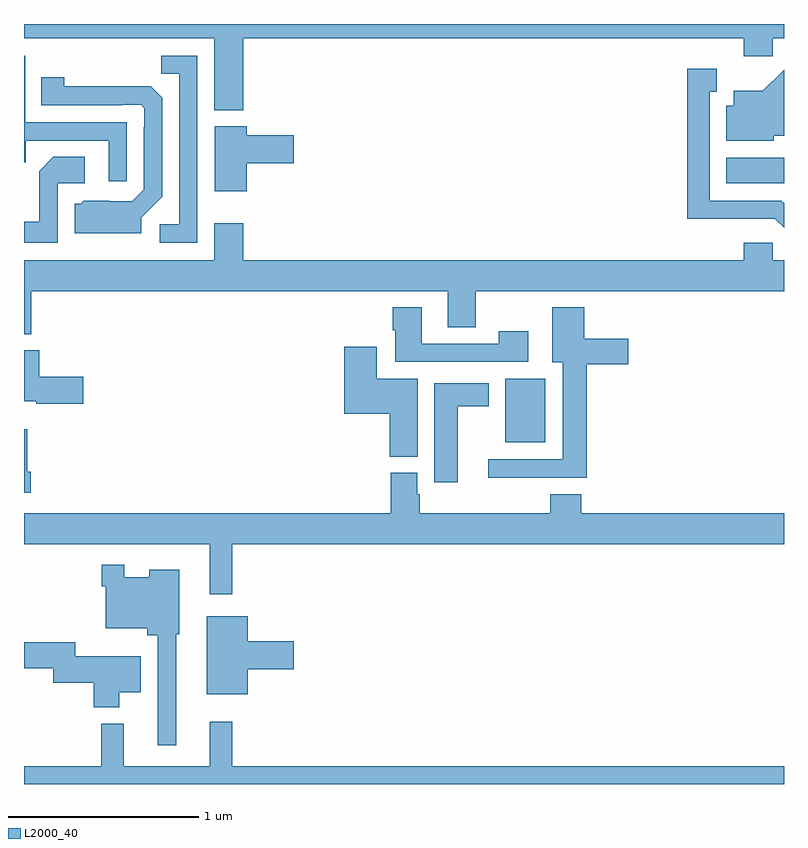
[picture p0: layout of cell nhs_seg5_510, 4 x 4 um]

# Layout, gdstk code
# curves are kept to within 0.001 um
import gdstk
lib = gdstk.Library(unit=1e-6, precision=1e-09)
def R(c, l, rs):  # rectangles x0, y0, x1, y1
    for r in rs: c.add(gdstk.rectangle(r[:2], r[2:], *l))
def P(c, l, *ps):  # polygons
    for p in ps: c.add(gdstk.Polygon(p, *l))
L2000_40 = (2000, 40)

nhs_seg5_510 = lib.new_cell('nhs_seg5_510')
R(nhs_seg5_510, L2000_40, [(145.532,890.597,145.744,890.932), (146.696,891.962,147,892.096)])
P(nhs_seg5_510, L2000_40, [(144.155,892.724),(146.789,892.724),(146.789,892.629),(146.94,892.629),(146.94,892.724),(147,892.724),(147,892.799),(143,892.799),(143,892.724),(144.002,892.724),(144.002,892.346),(144.155,892.346)],
  [(143.913,892.632),(143.722,892.632),(143.722,892.537),(143.817,892.537),(143.817,891.744),(143.715,891.744),(143.715,891.648),(143.913,891.648)],
  [(143.541,892.281),(143.007,892.281),(143.007,892.632),(143,892.632),(143,892.072),(143.009,892.072),(143.009,892.185),(143.445,892.185),(143.445,891.972),(143.541,891.972)],
  [(147,891.855),(146.985,891.87),(146.608,891.87),(146.608,892.443),(146.647,892.443),(146.647,892.564),(146.49,892.564),(146.49,891.773),(146.73,891.773),(146.73,891.774),(146.952,891.774),(147,891.726)],
  [(146.946,892.211),(147,892.211),(147,892.559),(146.99,892.549),(146.887,892.447),(146.735,892.447),(146.735,892.369),(146.696,892.369),(146.696,892.184),(146.946,892.184)],
  [(143.617,891.78),(143.727,891.89),(143.727,892.412),(143.668,892.471),(143.211,892.472),(143.211,892.519),(143.092,892.519),(143.092,892.371),(143.516,892.371),(143.516,892.374),(143.616,892.374),(143.634,892.356),(143.634,892.256),(143.631,892.256),(143.631,891.927),(143.571,891.867),(143.314,891.868),(143.298,891.852),(143.267,891.852),(143.267,891.698),(143.617,891.698)],
  [(144.172,892.067),(144.421,892.067),(144.421,892.214),(144.172,892.214),(144.172,892.261),(144.005,892.261),(144.005,891.918),(144.172,891.918)],
  [(143.178,891.96),(143.32,891.96),(143.32,892.1),(143.155,892.1),(143.079,892.024),(143.079,891.757),(143,891.757),(143,891.648),(143.178,891.648)],
  [(144.155,891.751),(144.002,891.751),(144.002,891.556),(143,891.556),(143,891.167),(143.039,891.167),(143.039,891.392),(145.229,891.392),(145.229,891.202),(145.377,891.202),(145.377,891.392),(147,891.392),(147,891.556),(146.94,891.556),(146.94,891.649),(146.789,891.649),(146.789,891.556),(144.155,891.556)],
  [(145.654,891.181),(145.498,891.181),(145.498,891.117),(145.093,891.117),(145.093,891.307),(144.941,891.307),(144.941,891.187),(144.953,891.187),(144.953,891.021),(145.654,891.021)],
  [(145.961,891.008),(146.179,891.008),(146.179,891.142),(145.948,891.142),(145.948,891.307),(145.781,891.307),(145.781,891.02),(145.835,891.02),(145.835,890.508),(145.443,890.508),(145.443,890.411),(145.961,890.411)],
  [(145.072,890.932),(144.856,890.932),(144.856,891.1),(144.686,891.1),(144.686,890.747),(144.926,890.747),(144.926,890.521),(145.072,890.521)],
  [(143.311,890.943),(143.081,890.943),(143.081,891.082),(143,891.082),(143,890.813),(143.064,890.813),(143.064,890.801),(143.311,890.801)],
  [(145.282,890.786),(145.447,890.786),(145.447,890.908),(145.16,890.908),(145.16,890.388),(145.282,890.388)],
  [(143.036,890.443),(143.016,890.443),(143.016,890.665),(143,890.665),(143,890.331),(143.036,890.331)],
  [(144.095,890.06),(147,890.06),(147,890.224),(145.934,890.224),(145.934,890.323),(145.769,890.323),(145.769,890.224),(145.082,890.224),(145.082,890.325),(145.069,890.325),(145.069,890.436),(144.929,890.436),(144.929,890.224),(143,890.224),(143,890.06),(143.978,890.06),(143.978,889.797),(144.095,889.797)],
  [(143.8,889.587),(143.818,889.587),(143.818,889.927),(143.66,889.927),(143.66,889.888),(143.527,889.888),(143.527,889.954),(143.41,889.954),(143.41,889.841),(143.43,889.841),(143.43,889.619),(143.648,889.619),(143.648,889.583),(143.703,889.583),(143.703,889.002),(143.8,889.002)],
  [(144.178,889.403),(144.421,889.403),(144.421,889.55),(144.178,889.55),(144.178,889.681),(143.963,889.681),(143.963,889.271),(144.178,889.271)],
  [(143.5,889.283),(143.614,889.283),(143.614,889.471),(143.271,889.471),(143.271,889.544),(143,889.544),(143,889.408),(143.155,889.408),(143.155,889.332),(143.366,889.332),(143.366,889.202),(143.5,889.202)],
  [(147,888.892),(144.095,888.892),(144.095,889.126),(143.978,889.126),(143.978,888.892),(143.525,888.892),(143.525,889.117),(143.407,889.117),(143.407,888.892),(143,888.892),(143,888.799),(147,888.799)])

lib.write_gds('nhs_seg5_510.gds')
